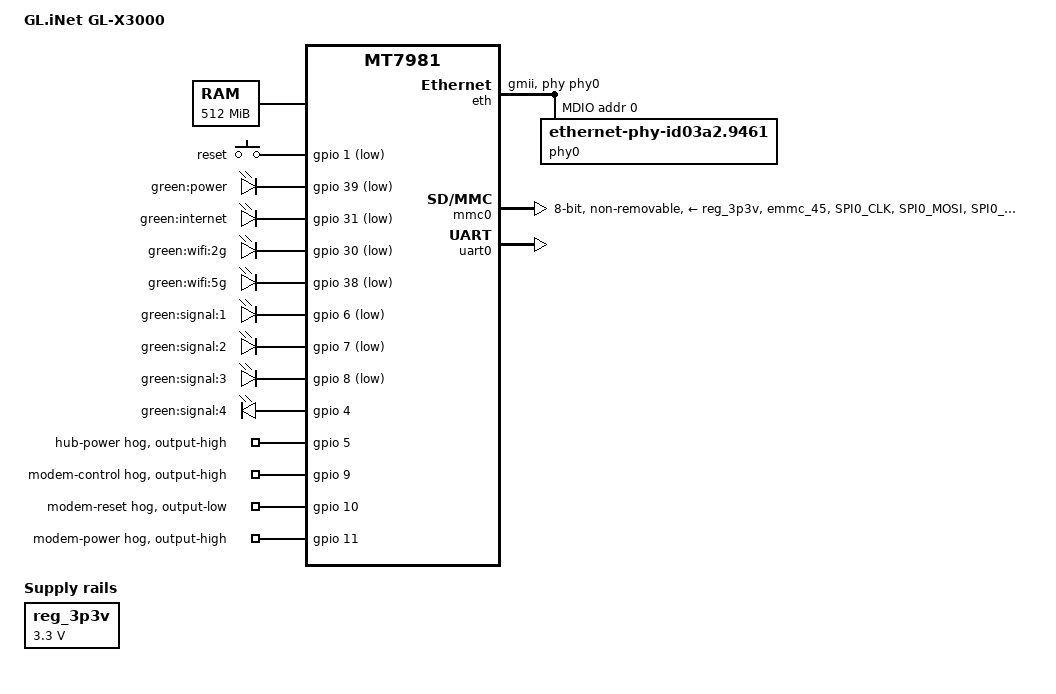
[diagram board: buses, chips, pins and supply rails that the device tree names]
// SPDX-License-Identifier: GPL-2.0

/dts-v1/;
#include "mt7981.dtsi"
#include <dt-bindings/gpio/gpio.h>
#include <dt-bindings/input/linux-event-codes.h>

/ {
	#address-cells = <1>;
	#size-cells = <1>;
	model = "GL.iNet GL-X3000";
	compatible = "glinet,gl-x3000", "mediatek,mt7981";

	chosen {
		stdout-path = &uart0;
		tick-timer = &timer0;
	};

	memory@40000000 {
		device_type = "memory";
		reg = <0x40000000 0x20000000>;
	};

	reg_3p3v: regulator-3p3v {
		compatible = "regulator-fixed";
		regulator-name = "fixed-3.3V";
		regulator-min-microvolt = <3300000>;
		regulator-max-microvolt = <3300000>;
		regulator-boot-on;
		regulator-always-on;
	};

	keys {
		compatible = "gpio-keys";

		reset {
			label = "reset";
			linux,code = <KEY_RESTART>;
			gpios = <&gpio 1 GPIO_ACTIVE_LOW>;
		};
	};

	leds {
		compatible = "gpio-leds";

		power {
			label = "green:power";
			gpios = <&gpio 39 GPIO_ACTIVE_LOW>;
		};

		internet {
			label = "green:internet";
			gpios = <&gpio 31 GPIO_ACTIVE_LOW>;
		};

		wifi-2g {
			label = "green:wifi:2g";
			gpios = <&gpio 30 GPIO_ACTIVE_LOW>;
		};

		wifi-5g {
			label = "green:wifi:5g";
			gpios = <&gpio 38 GPIO_ACTIVE_LOW>;
		};

		signal-1 {
			label = "green:signal:1";
			gpios = <&gpio 6 GPIO_ACTIVE_LOW>;
		};

		signal-2 {
			label = "green:signal:2";
			gpios = <&gpio 7 GPIO_ACTIVE_LOW>;
		};

		signal-3 {
			label = "green:signal:3";
			gpios = <&gpio 8 GPIO_ACTIVE_LOW>;
		};

		signal-4 {
			label = "green:signal:4";
			gpios = <&gpio 4 GPIO_ACTIVE_HIGH>;
		};
	};
};

&eth {
	status = "okay";
	mediatek,gmac-id = <1>;
	phy-mode = "gmii";
	phy-handle = <&phy0>;

	mdio {
		#address-cells = <1>;
		#size-cells = <0>;

		phy0: ethernet-phy@0 {
			compatible = "ethernet-phy-id03a2.9461";
			reg = <0>;
			phy-mode = "gmii";
		};
	};
};

&gpio {
	hub-power {
		gpio-hog;
		gpios = <5 GPIO_ACTIVE_HIGH>;
		output-high;
	};

	modem-control {
		gpio-hog;
		gpios = <9 GPIO_ACTIVE_HIGH>;
		output-high;
	};

	modem-reset {
		gpio-hog;
		gpios = <10 GPIO_ACTIVE_HIGH>;
		output-low;
	};

	modem-power {
		gpio-hog;
		gpios = <11 GPIO_ACTIVE_HIGH>;
		output-high;
	};
};

&mmc0 {
	pinctrl-names = "default";
	pinctrl-0 = <&mmc0_pins_default>;
	max-frequency = <52000000>;
	bus-width = <8>;
	cap-mmc-hw-highspeed;
	cap-mmc-hw-reset;
	vmmc-supply = <&reg_3p3v>;
	non-removable;
	status = "okay";
};

&pinctrl {
	mmc0_pins_default: mmc0-pins-default {
		mux {
			function = "flash";
			groups =  "emmc_45";
		};
		conf-cmd-dat {
			pins = "SPI0_CLK", "SPI0_MOSI", "SPI0_MISO",
				"SPI0_CS",  "SPI0_HOLD", "SPI0_WP",
				"SPI1_CLK", "SPI1_MOSI", "SPI1_MISO";
			input-enable;
			drive-strength = <MTK_DRIVE_4mA>;
			bias-pull-up = <MTK_PUPD_SET_R1R0_01>;
		};
		conf-clk {
			pins = "SPI1_CS";
			drive-strength = <MTK_DRIVE_6mA>;
			bias-pull-down = <MTK_PUPD_SET_R1R0_10>;
		};
		conf-rst {
			pins = "GPIO_WPS";
			drive-strength = <MTK_DRIVE_4mA>;
			bias-pull-up = <MTK_PUPD_SET_R1R0_01>;
		};
	};
};

&uart0 {
	status = "okay";
};
